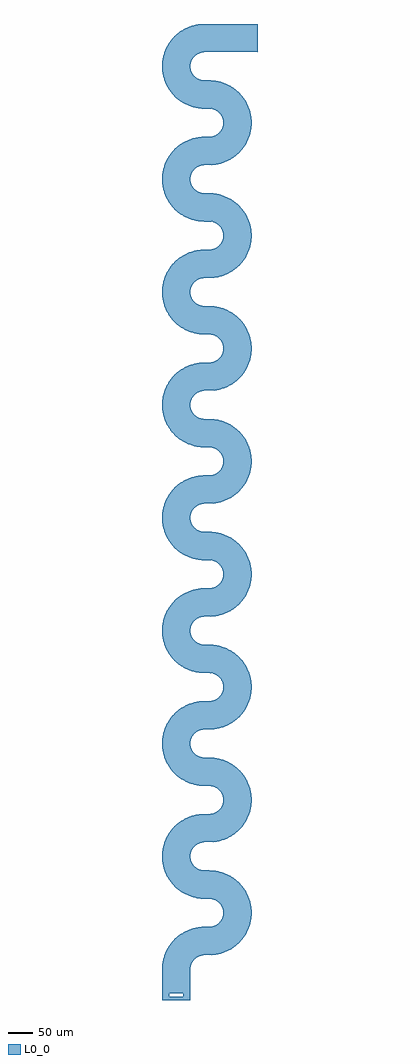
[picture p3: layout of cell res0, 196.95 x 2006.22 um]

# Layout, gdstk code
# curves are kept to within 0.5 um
import gdstk
lib = gdstk.Library(unit=1e-6, precision=1e-09)
def P(c, l, *ps):  # polygons
    for p in ps: c.add(gdstk.Polygon(p, *l))
L0_0 = (0, 0)

res0 = lib.new_cell('res0')
P(res0, L0_0, [(1498.454,2496.5),(1386.715,2496.445),(1378.024,2494.542),(1369.632,2489.523),(1365.907,2485.681),(1362.54,2480.426),(1360.376,2474.573),(1359.514,2468.393),(1359.843,2463.052),(1361.458,2457.024),(1364.326,2451.481),(1368.312,2446.681),(1374.78,2441.951),(1382.296,2439.171),(1408.987,2437.866),(1426.88,2433.741),(1308.323,2433.741),(1304.695,2444.138),(1301.857,2459.627),(1302.134,2477.987),(1305.439,2493.383),(1312.722,2510.239),(1321.667,2523.199),(1334.845,2535.985),(1350.414,2545.721),(1365.138,2551.305),(1375.41,2553.51),(1385.872,2554.46),(1498.454,2554.5)],
  [(1429.351,2432.846),(1443.508,2425.953),(1454.199,2418.333),(1465.333,2407.199),(1472.953,2396.508),(1479.846,2382.351),(1484.075,2367.182),(1485.5,2351.5),(1484.51,2338.41),(1481.561,2325.617),(1411.575,2325.617),(1417.368,2329.477),(1422.17,2334.745),(1425.538,2341.013),(1427.157,2347.052),(1427.445,2353.285),(1426.135,2360.291),(1423.615,2366),(1419.319,2371.688),(1413,2376.615),(1406.436,2379.393),(1400.285,2380.445),(1380.627,2380.857),(1370.24,2382.438),(1357.649,2386.154),(1345.761,2391.722),(1334.845,2399.015),(1323.38,2409.808),(1315.44,2420.263),(1308.323,2433.741),(1426.88,2433.741)],
  [(1481.409,2325.155),(1475.535,2311.069),(1466.985,2297.845),(1456.192,2286.38),(1443.508,2277.047),(1431.793,2271.122),(1419.32,2267.028),(1406.373,2264.857),(1383.171,2264.006),(1376.379,2261.845),(1370.319,2258.093),(1364.326,2251.519),(1360.607,2243.436),(1359.5,2235.5),(1360.865,2226.709),(1301.954,2226.709),(1301.54,2238.128),(1302.925,2251.182),(1306.259,2263.88),(1311.465,2275.931),(1316.9,2284.922),(1325.152,2295.132),(1334.845,2303.985),(1345.761,2311.278),(1357.649,2316.846),(1370.24,2320.562),(1383.247,2322.341),(1402.064,2322.72),(1411.575,2325.617)],
  [(1361.149,2225.862),(1363.844,2220.233),(1367.681,2215.312),(1371.745,2211.83),(1377.196,2208.794),(1384.936,2206.72),(1406.373,2206.143),(1421.862,2203.305),(1436.586,2197.721),(1452.155,2187.985),(1465.333,2175.199),(1474.278,2162.239),(1480.741,2147.88),(1484.643,2131.621),(1424.845,2131.621),(1418.688,2140.319),(1413.767,2144.156),(1408.976,2146.542),(1401.176,2148.376),(1378.013,2149.134),(1365.138,2151.695),(1350.414,2157.279),(1334.845,2167.015),(1321.667,2179.801),(1312.722,2192.761),(1305.439,2209.617),(1301.954,2226.709),(1360.865,2226.709)],
  [(1484.866,2129.987),(1485.5,2119.5),(1484.51,2106.41),(1481.561,2093.617),(1476.721,2081.414),(1470.1,2070.078),(1461.848,2059.868),(1452.155,2051.015),(1441.239,2043.722),(1424.383,2036.439),(1406.373,2032.857),(1385.824,2032.376),(1377.196,2030.206),(1305.71,2030.206),(1311.465,2043.931),(1320.015,2057.155),(1330.808,2068.62),(1343.492,2077.953),(1355.207,2083.878),(1365.138,2087.305),(1380.627,2090.143),(1403.829,2090.994),(1411.426,2093.54),(1417.368,2097.477),(1423.615,2105),(1426.829,2113.296),(1427.28,2123.064),(1424.845,2131.621),(1484.643,2131.621)],
  [(1376.379,2029.845),(1370.319,2026.093),(1365.907,2021.681),(1362.155,2015.621),(1359.994,2008.829),(1359.555,2001.715),(1360.607,1995.564),(1363.385,1989),(1367.681,1983.312),(1374,1978.385),(1380.564,1975.607),(1386.715,1974.555),(1406.373,1974.143),(1416.76,1972.562),(1429.351,1968.846),(1441.239,1963.278),(1452.155,1955.985),(1463.62,1945.192),(1471.56,1934.737),(1478.677,1921.259),(1360.12,1921.259),(1350.414,1925.279),(1341.263,1930.44),(1332.801,1936.667),(1325.152,1943.868),(1316.9,1954.078),(1311.465,1963.069),(1306.259,1975.12),(1303.438,1985.24),(1301.857,1995.627),(1301.659,2008.753),(1302.925,2019.182),(1305.71,2030.206)],
  [(1478.878,1920.793),(1482.305,1910.862),(1484.866,1897.987),(1485.5,1887.5),(1484.51,1874.41),(1481.561,1861.617),(1477.835,1851.794),(1471.56,1840.263),(1465.333,1831.801),(1325.801,1831.801),(1332.801,1838.333),(1341.263,1844.56),(1350.414,1849.721),(1360.12,1853.741),(1375.41,1857.51),(1401.176,1858.624),(1410.621,1861.155),(1419.319,1867.312),(1423.156,1872.233),(1425.542,1877.024),(1427.486,1886.607),(1426.135,1896.291),(1421.642,1904.976),(1414.519,1911.674),(1408.976,1914.542),(1403.829,1916.006),(1378.013,1917.134),(1360.12,1921.259)],
  [(1463.62,1829.808),(1450.062,1817.426),(1434.206,1808.165),(1424.383,1804.439),(1411.59,1801.49),(1401.128,1800.54),(1386.715,1800.445),(1379.709,1799.135),(1370.319,1794.093),(1363.385,1786),(1359.994,1776.829),(1359.843,1767.052),(1363.385,1757),(1369.632,1749.477),(1375.574,1745.54),(1383.171,1742.994),(1403.753,1742.341),(1414.182,1741.075),(1307,1741.075),(1303.438,1753.24),(1301.659,1766.247),(1301.857,1779.373),(1303.438,1789.76),(1306.259,1799.88),(1311.465,1811.931),(1318.426,1823.062),(1325.801,1831.801),(1465.333,1831.801)],
  [(1416.76,1740.562),(1431.793,1735.878),(1447.922,1727.1),(1461.848,1715.132),(1472.953,1700.508),(1480.741,1683.88),(1484.866,1665.987),(1485.143,1647.627),(1482.214,1631.83),(1415.255,1631.83),(1419.931,1635.963),(1423.615,1641),(1426.393,1647.564),(1427.445,1653.715),(1427.157,1659.948),(1425.542,1665.976),(1422.17,1672.255),(1418.037,1676.931),(1412.22,1681.049),(1405.573,1683.624),(1400.285,1684.445),(1383.247,1684.659),(1372.818,1685.925),(1362.617,1688.439),(1350.414,1693.279),(1339.078,1699.9),(1330.808,1706.38),(1321.667,1715.801),(1314.047,1726.492),(1307,1741.075),(1414.182,1741.075)],
  [(1481.561,1629.617),(1475.535,1615.069),(1466.985,1601.845),(1456.192,1590.38),(1443.508,1581.047),(1431.793,1575.122),(1419.32,1571.028),(1406.373,1568.857),(1383.171,1568.006),(1376.379,1565.845),(1370.319,1562.093),(1364.83,1556.255),(1360.865,1548.291),(1359.5,1539.5),(1360.607,1531.564),(1301.864,1531.564),(1301.54,1542.128),(1302.925,1555.182),(1306.259,1567.88),(1311.465,1579.931),(1316.9,1588.922),(1325.152,1599.132),(1334.845,1607.985),(1345.761,1615.278),(1355.207,1619.878),(1367.68,1623.972),(1380.627,1626.143),(1402.948,1626.843),(1408.976,1628.458),(1415.255,1631.83),(1482.214,1631.83)],
  [(1360.865,1530.709),(1363.385,1525),(1367.069,1519.963),(1371.745,1515.83),(1377.196,1512.794),(1384.936,1510.72),(1406.373,1510.143),(1421.862,1507.305),(1436.586,1501.721),(1452.155,1491.985),(1465.333,1479.199),(1474.278,1466.239),(1481.561,1449.383),(1484.956,1433.138),(1425.851,1433.138),(1423.156,1438.767),(1419.319,1443.688),(1415.255,1447.17),(1409.804,1450.206),(1402.064,1452.28),(1380.627,1452.857),(1365.138,1455.695),(1350.414,1461.279),(1334.845,1471.015),(1321.667,1483.801),(1312.722,1496.761),(1305.439,1513.617),(1301.864,1531.564),(1360.607,1531.564)],
  [(1485.136,1431.436),(1485.46,1420.872),(1484.075,1407.818),(1480.741,1395.12),(1475.535,1383.069),(1470.1,1374.078),(1461.848,1363.868),(1452.155,1355.015),(1441.239,1347.722),(1431.793,1343.122),(1419.32,1339.028),(1406.373,1336.857),(1384.052,1336.157),(1377.196,1334.206),(1371.324,1330.862),(1304.695,1330.862),(1310.279,1345.586),(1318.426,1359.062),(1328.868,1370.848),(1341.263,1380.56),(1352.794,1386.835),(1365.138,1391.305),(1380.627,1394.143),(1403.829,1394.994),(1411.426,1397.54),(1417.368,1401.477),(1423.156,1408.233),(1426.393,1415.564),(1427.486,1424.393),(1425.851,1433.138),(1484.956,1433.138)],
  [(1371.024,1330.642),(1366.477,1326.368),(1362.951,1321.22),(1360.607,1315.436),(1359.555,1309.285),(1359.843,1303.052),(1361.458,1297.024),(1363.844,1292.233),(1367.681,1287.312),(1374,1282.385),(1380.564,1279.607),(1386.715,1278.555),(1406.373,1278.143),(1416.76,1276.562),(1431.793,1271.878),(1443.508,1265.953),(1454.199,1258.333),(1465.333,1247.199),(1474.278,1234.239),(1480.516,1220.5),(1388.5,1220.5),(1375.41,1221.49),(1362.617,1224.439),(1350.414,1229.279),(1339.078,1235.9),(1326.982,1245.982),(1320.015,1253.845),(1314.047,1262.492),(1308.122,1274.207),(1304.695,1284.138),(1302.134,1297.013),(1301.5,1307.5),(1302.134,1317.987),(1304.695,1330.862)],
  [(1481.561,1217.383),(1484.51,1204.59),(1485.5,1191.5),(1484.51,1178.41),(1480.741,1163.12),(1475.535,1151.069),(1466.985,1137.845),(1458.132,1128.152),(1447.922,1119.9),(1313.692,1119.9),(1320.015,1129.155),(1328.868,1138.848),(1339.078,1147.1),(1350.414,1153.721),(1362.617,1158.561),(1372.818,1161.075),(1383.247,1162.341),(1400.285,1162.555),(1406.436,1163.607),(1413.767,1166.844),(1420.523,1172.632),(1424.845,1179.379),(1427.157,1187.052),(1427.157,1195.948),(1424.845,1203.621),(1420.523,1210.368),(1413.767,1216.156),(1406.436,1219.393),(1398.5,1220.5),(1480.516,1220.5)],
  [(1445.737,1118.44),(1431.793,1111.122),(1419.32,1107.028),(1406.373,1104.857),(1384.936,1104.28),(1374.78,1101.049),(1368.312,1096.319),(1362.951,1089.22),(1360.171,1081.704),(1359.624,1072.824),(1361.458,1065.024),(1364.83,1058.745),(1369.632,1053.477),(1375.574,1049.54),(1384.052,1046.843),(1408.987,1045.866),(1424.383,1042.561),(1438.931,1036.535),(1454.199,1026.333),(1316.73,1026.333),(1310.279,1037.414),(1305.439,1049.617),(1302.49,1062.41),(1301.54,1072.872),(1302.134,1085.987),(1304.028,1096.32),(1308.122,1108.793),(1313.692,1119.9),(1447.922,1119.9)],
  [(1456.192,1024.62),(1465.333,1015.199),(1472.953,1004.508),(1478.878,992.793),(1482.972,980.32),(1485.143,967.373),(1485.341,954.247),(1483.562,941.24),(1479.812,928.562),(1370.24,928.562),(1383.247,930.341),(1403.829,930.994),(1411.426,933.54),(1417.368,937.477),(1423.615,945),(1427.006,954.171),(1427.157,963.948),(1424.049,973.22),(1417.368,981.523),(1413,984.615),(1407.291,987.135),(1401.176,988.376),(1383.247,988.659),(1372.818,989.925),(1362.617,992.439),(1350.414,997.279),(1339.078,1003.9),(1330.808,1010.38),(1323.38,1017.808),(1316.73,1026.333),(1454.199,1026.333)],
  [(1478.878,926.207),(1471.56,912.263),(1463.62,901.808),(1452.155,891.015),(1441.239,883.722),(1429.351,878.154),(1416.76,874.438),(1406.373,872.857),(1386.715,872.445),(1380.564,871.393),(1373.233,868.156),(1367.069,863.037),(1362.951,857.22),(1360.376,850.573),(1359.5,843.5),(1360.376,836.427),(1362.951,829.78),(1367.069,823.963),(1372.481,819.326),(1378.862,816.149),(1305.921,816.149),(1302.49,830.41),(1301.5,843.5),(1302.49,856.59),(1306.259,871.88),(1311.465,883.931),(1320.015,897.155),(1330.808,908.62),(1341.263,916.56),(1355.207,923.878),(1370.24,928.562),(1479.812,928.562)],
  [(1379.709,815.865),(1386.715,814.555),(1408.987,813.866),(1426.88,809.741),(1436.586,805.721),(1445.737,800.56),(1460.018,789.018),(1466.985,781.155),(1472.953,772.508),(1478.878,760.793),(1482.305,750.862),(1484.51,740.59),(1485.46,730.128),(1485.143,719.627),(1483.562,709.24),(1421.027,709.24),(1424.049,713.78),(1426.393,719.564),(1427.445,725.715),(1427.28,731.064),(1426.135,736.291),(1423.615,742),(1420.523,746.368),(1415.976,750.642),(1409.804,754.206),(1403.829,756.006),(1378.013,757.134),(1360.12,761.259),(1350.414,765.279),(1341.263,770.44),(1326.982,781.982),(1320.015,789.845),(1314.047,798.492),(1309.165,807.794),(1305.921,816.149)],
  [(1482.972,706.68),(1477.835,691.794),(1470.1,678.078),(1458.132,664.152),(1445.737,654.44),(1431.793,647.122),(1419.32,643.028),(1406.373,640.857),(1386.749,640.447),(1379.872,639.187),(1372.026,635.367),(1365.672,629.385),(1361.707,622.598),(1359.619,614.124),(1359.5,548.281),(1301.5,548.281),(1301.5,562.281),(1316,562.281),(1316,555.281),(1345,555.281),(1345,562.281),(1301.5,562.281),(1301.54,614.128),(1304.028,632.32),(1308.122,644.793),(1314.047,656.508),(1321.667,667.199),(1330.808,676.62),(1343.492,685.953),(1360.12,693.741),(1378.013,697.866),(1400.285,698.555),(1405.573,699.376),(1413.767,702.844),(1421.027,709.24),(1483.562,709.24)])

lib.write_gds('res0.gds')
